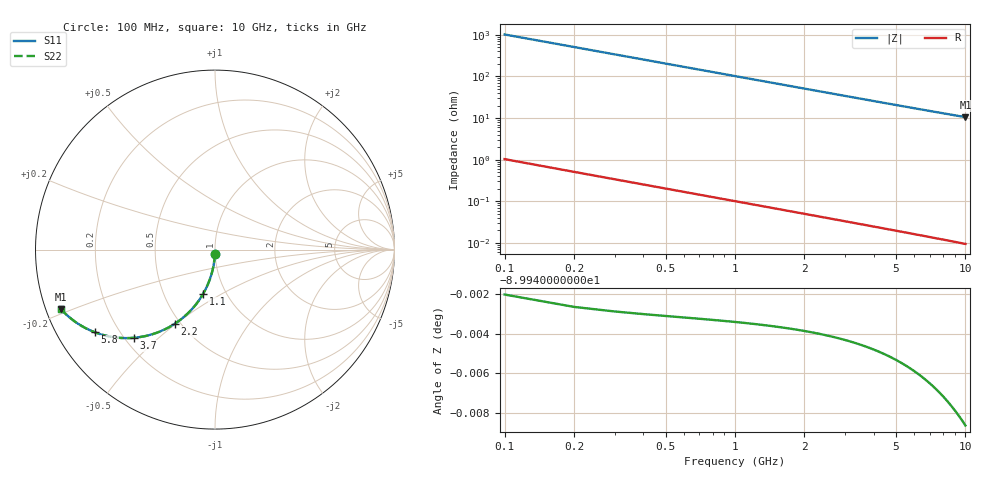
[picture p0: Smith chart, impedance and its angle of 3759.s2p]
# Hz S RI R 50.00
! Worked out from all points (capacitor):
!   100 points, 100 MHz to 10 GHz, reference 50 ohm
!   read as one part in shunt: C = 1.56 pF near 100 MHz
!   lowest |Z| = 10.5 ohm at 10 GHz (marker M1)
!   S11 on the Smith chart (normalised r, x): 100 MHz: 1.00, -0.05; 1.1 GHz: 0.78, -0.41; 2.2 GHz: 0.47, -0.49; 3.7 GHz: 0.24, -0.42; 5.8 GHz: 0.11, -0.31; 10 GHz: 0.04, -0.19
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1e8  -0.000589 -0.0243  0.9993 -0.0247  0.9993 -0.0247  -0.000589 -0.0243
2e8  -0.00241 -0.0486  0.9975 -0.0492  0.9975 -0.0492  -0.00241 -0.0486
3e8  -0.00541 -0.0727  0.9945 -0.0736  0.9945 -0.0736  -0.00541 -0.0727
4e8  -0.00958 -0.0965  0.9903 -0.0977  0.9903 -0.0977  -0.00958 -0.0965
5e8  -0.0149 -0.1199  0.985 -0.1215  0.985 -0.1215  -0.0149 -0.1199
6e8  -0.0213 -0.143  0.9787 -0.1448  0.9787 -0.1448  -0.0213 -0.143
7e8  -0.0287 -0.1655  0.9712 -0.1677  0.9712 -0.1677  -0.0287 -0.1655
9e8  -0.0465 -0.2089  0.9534 -0.2116  0.9534 -0.2116  -0.0465 -0.2089
1.1e9  -0.0679 -0.2495  0.932 -0.2529  0.932 -0.2529  -0.0679 -0.2495
1.4e9  -0.1055 -0.3046  0.8944 -0.3089  0.8944 -0.3089  -0.1055 -0.3046
1.8e9  -0.163 -0.3662  0.8369 -0.3717  0.8369 -0.3717  -0.163 -0.3662
2.2e9  -0.2253 -0.4139  0.7746 -0.4207  0.7746 -0.4207  -0.2253 -0.4139
2.8e9  -0.3201 -0.4617  0.6798 -0.4704  0.6798 -0.4704  -0.3201 -0.4617
3.4e9  -0.4097 -0.486  0.5902 -0.4966  0.5902 -0.4966  -0.4097 -0.486
3.7e9  -0.4511 -0.4913  0.5488 -0.5029  0.5488 -0.5029  -0.4511 -0.4913
4.4e9  -0.5375 -0.4912  0.4624 -0.505  0.4624 -0.505  -0.5375 -0.4912
5.1e9  -0.6096 -0.4792  0.3902 -0.4954  0.3902 -0.4954  -0.6096 -0.4792
5.8e9  -0.6689 -0.4608  0.3308 -0.4793  0.3308 -0.4793  -0.6689 -0.4608
6.7e9  -0.7296 -0.4329  0.2701 -0.4543  0.2701 -0.4543  -0.7296 -0.4329
7.5e9  -0.772 -0.4069  0.2277 -0.431  0.2277 -0.431  -0.772 -0.4069
8.4e9  -0.8096 -0.3783  0.1899 -0.4054  0.1899 -0.4054  -0.8096 -0.3783
1e10  -0.8582 -0.3317  0.1412 -0.3643  0.1412 -0.3643  -0.8582 -0.3317
